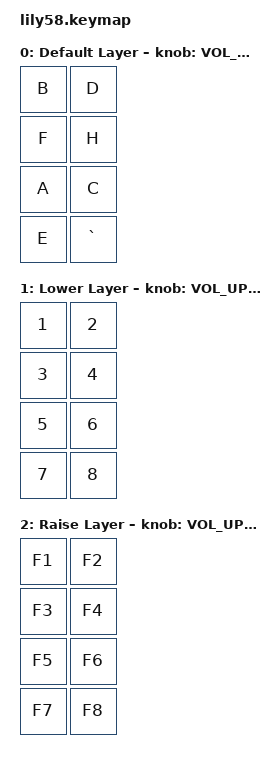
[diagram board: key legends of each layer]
/*
 * Copyright (c) 2020 The ZMK Contributors
 *
 * SPDX-License-Identifier: MIT
 */

#include <behaviors.dtsi>
#include <dt-bindings/zmk/keys.h>
#include <dt-bindings/zmk/bt.h>
#include <dt-bindings/zmk/ext_power.h>

/ {
    keymap {
        compatible = "zmk,keymap";

        default_layer {
            display-name = "Default Layer";
// ------------------------------------------------------------------------------------------------------------
// |  B  |  D  |
// |  F  |  H  |
// |  A  |  C  |
// |  E  |  G  |
            bindings = <
&kp B &kp D
&kp F &kp H
&kp A &kp C
&kp E &kp GRAVE
            >;

            sensor-bindings = <&inc_dec_kp C_VOL_UP C_VOL_DN>;
        };

        lower_layer {
            display-name = "Lower Layer";
// ------------------------------------------------------------------------------------------------------------
// |  1  |  2  |
// |  3  |  4  |
// |  5  |  6  |
// |  7  |  8  |
            bindings = <
&kp N1 &kp N2
&kp N3 &kp N4
&kp N5 &kp N6
&kp N7 &kp N8
            >;

            sensor-bindings = <&inc_dec_kp C_VOL_UP C_VOL_DN>;
        };

        raise_layer {
            display-name = "Raise Layer";
// ------------------------------------------------------------------------------------------------------------
// |  F1  |  F2  |
// |  F3  |  F4  |
// |  F5  |  F6  |
// |  F7  |  F8  |
            bindings = <
&kp F1 &kp F2
&kp F3 &kp F4
&kp F5 &kp F6
&kp F7 &kp F8
            >;

            sensor-bindings = <&inc_dec_kp C_VOL_UP C_VOL_DN>;
        };
    };
};
